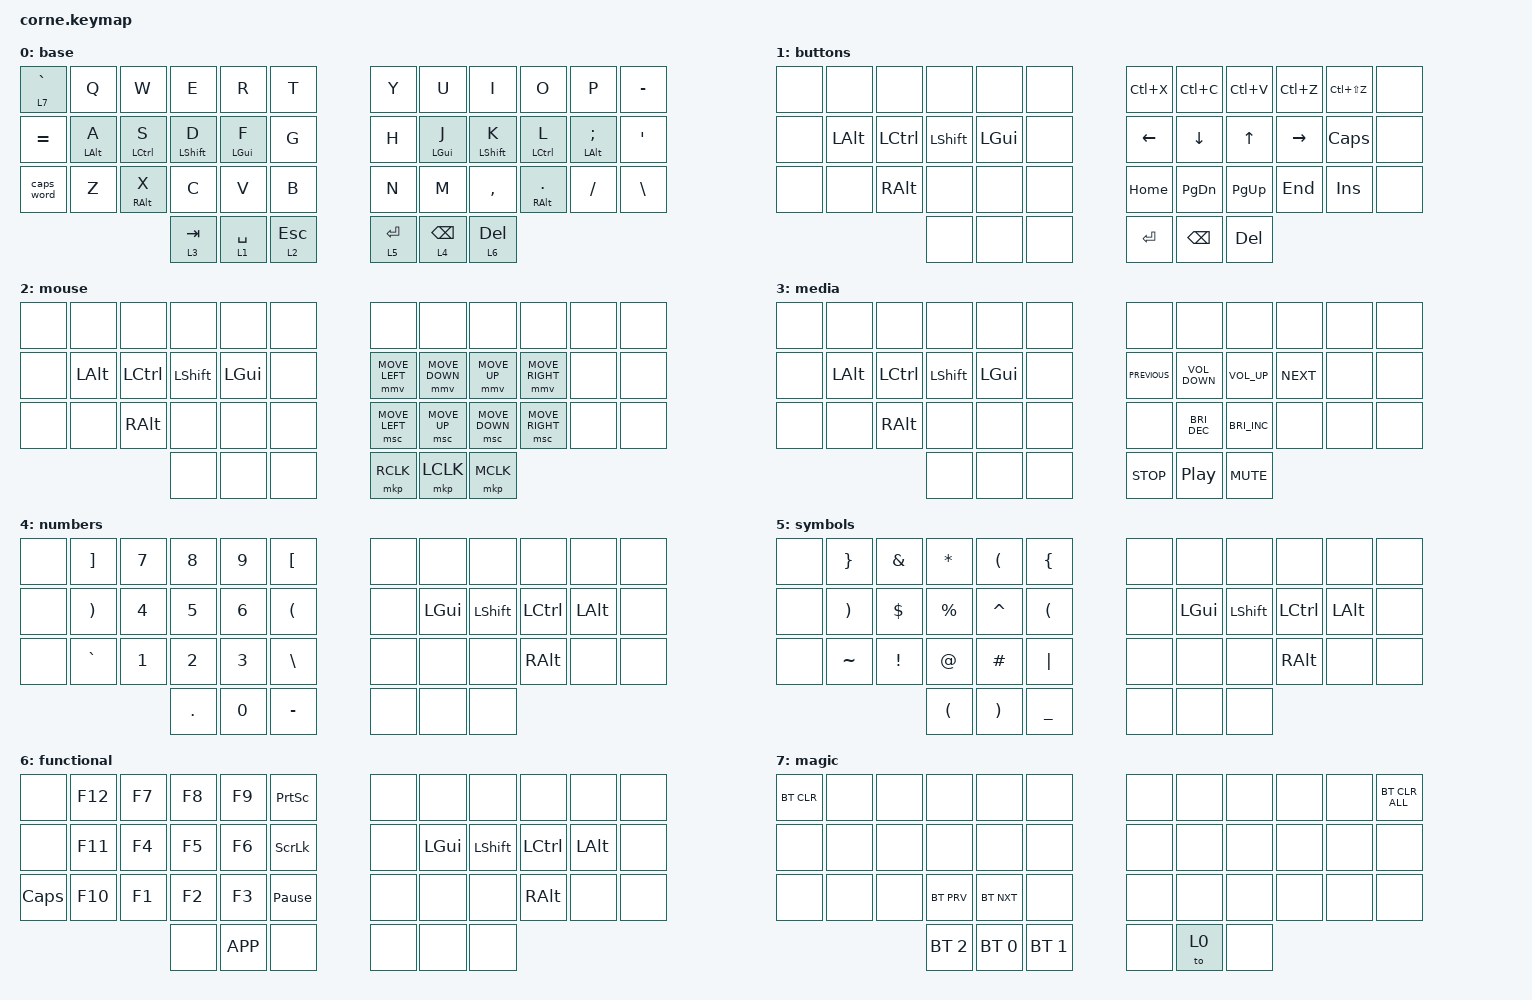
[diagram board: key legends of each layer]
/*
 * Copyright (c) 2020 The ZMK Contributors
 *
 * SPDX-License-Identifier: MIT
 */

#define ZMK_MOUSE_DEFAULT_MOVE_VAL 1400  // 600
#define ZMK_MOUSE_DEFAULT_SCRL_VAL 4    // 10

#include <dt-bindings/zmk/mouse.h>
#include <behaviors.dtsi>
#include <dt-bindings/zmk/bt.h>
#include <dt-bindings/zmk/keys.h>
#include <dt-bindings/zmk/pointing.h>

// #include <dt-bindings/zmk/pointing.h>

&lt {
    tapping-term-ms = <200>;
    quick-tap-ms = <250>;
};

&mmv {
    acceleration-exponent = <1>;      // 1
    time-to-max-speed-ms = <100>;     // 300
    delay-ms = <0>;                   // 0
};

&msc {
    acceleration-exponent = <1>;      // 0
    time-to-max-speed-ms = <600>;      // 300
    delay-ms = <0>;                   // 0
};

/ {
    behaviors {
        hm: homerow_tap_preferred_mods {
            compatible = "zmk,behavior-hold-tap";
            label = "HOMEROW_MODS";
            #binding-cells = <2>;
            tapping-term-ms = <200>;
            quick-tap-ms = <250>;
            flavor = "tap-preferred";
            bindings = <&kp>, <&kp>;
        };
    };

    keymap {
        compatible = "zmk,keymap";

        //  &none  &none  &none  &none  &none  &none           &none  &none  &none  &none  &none  &none
        //  &none  &none  &none  &none  &none  &none           &none  &none  &none  &none  &none  &none
        //  &none  &none  &none  &none  &none  &none           &none  &none  &none  &none  &none  &none
        //                       &none  &none  &none           &none  &none  &none

        base {
            // DEFAULT LAYER

            bindings = <
&lt 7 GRAVE  &kp Q       &kp W        &kp E         &kp R        &kp T           &kp Y        &kp U            &kp I         &kp O         &kp P               &kp MINUS
&kp EQUAL    &hm LALT A  &hm LCTRL S  &hm LSHIFT D  &hm LGUI F   &kp G           &kp H        &hm LGUI J       &hm LSHIFT K  &hm LCTRL L   &hm LALT SEMICOLON  &kp SINGLE_QUOTE
&caps_word   &kp Z       &hm RALT X   &kp C         &kp V        &kp B           &kp N        &kp M            &kp COMMA     &hm RALT DOT  &kp SLASH           &kp BACKSLASH
                                      &lt 3 TAB     &lt 1 SPACE  &lt 2 ESCAPE    &lt 5 ENTER  &lt 4 BACKSPACE  &lt 6 DELETE
            >;
        };

        buttons {
            // BUTTONS LAYER

            bindings = <
&none  &none     &none      &none       &none     &none    &kp LC(X)  &kp LC(C)      &kp LC(V)    &kp LC(Z)  &kp LC(LS(Z))  &none
&none  &kp LALT  &kp LCTRL  &kp LSHIFT  &kp LGUI  &none    &kp LEFT   &kp DOWN       &kp UP       &kp RIGHT  &kp CAPS       &none
&none  &none     &kp RALT   &none       &none     &none    &kp HOME   &kp PAGE_DOWN  &kp PAGE_UP  &kp END    &kp INSERT     &none
                            &none       &none     &none    &kp ENTER  &kp BACKSPACE  &kp DELETE
            >;
        };

        mouse {
            // MOUSE LAYER

            bindings = <
&none  &none     &none      &none       &none     &none    &none           &none           &none           &none            &none  &none
&none  &kp LALT  &kp LCTRL  &kp LSHIFT  &kp LGUI  &none    &mmv MOVE_LEFT  &mmv MOVE_DOWN  &mmv MOVE_UP    &mmv MOVE_RIGHT  &none  &none
&none  &none     &kp RALT   &none       &none     &none    &msc MOVE_LEFT  &msc MOVE_UP    &msc MOVE_DOWN  &msc MOVE_RIGHT  &none  &none
                            &none       &none     &none    &mkp RCLK       &mkp LCLK       &mkp MCLK
            >;
        };

        media {
            // MEDIA LAYER

            bindings = <
&none  &none     &none      &none       &none     &none    &none           &none                 &none                 &none       &none  &none
&none  &kp LALT  &kp LCTRL  &kp LSHIFT  &kp LGUI  &none    &kp C_PREVIOUS  &kp C_VOLUME_DOWN     &kp C_VOLUME_UP       &kp C_NEXT  &none  &none
&none  &none     &kp RALT   &none       &none     &none    &none           &kp C_BRIGHTNESS_DEC  &kp C_BRIGHTNESS_INC  &none       &none  &none
                            &none       &none     &none    &kp C_STOP      &kp C_PLAY_PAUSE      &kp C_MUTE
            >;
        };

        numbers {
            // NUMBERS LAYER

            bindings = <
&none  &kp RIGHT_BRACKET      &kp N7  &kp N8   &kp N9  &kp LEFT_BRACKET        &none  &none     &none       &none      &none     &none
&none  &kp RIGHT_PARENTHESIS  &kp N4  &kp N5   &kp N6  &kp LEFT_PARENTHESIS    &none  &kp LGUI  &kp LSHIFT  &kp LCTRL  &kp LALT  &none
&none  &kp GRAVE              &kp N1  &kp N2   &kp N3  &kp BACKSLASH           &none  &none     &none       &kp RALT   &none     &none
                                      &kp DOT  &kp N0  &kp MINUS               &none  &none     &none
            >;
        };

        symbols {
            // SYMBOLS LAYER

            bindings = <
&none  &kp RIGHT_BRACE        &kp AMPS         &kp ASTERISK          &kp LPAR               &kp LEFT_BRACE          &none  &none     &none       &none      &none     &none
&none  &kp RIGHT_PARENTHESIS  &kp DOLLAR       &kp PERCENT           &kp CARET              &kp LEFT_PARENTHESIS    &none  &kp LGUI  &kp LSHIFT  &kp LCTRL  &kp LALT  &none
&none  &kp TILDE              &kp EXCLAMATION  &kp AT                &kp HASH               &kp PIPE                &none  &none     &none       &kp RALT   &none     &none
                                               &kp LEFT_PARENTHESIS  &kp RIGHT_PARENTHESIS  &kp UNDERSCORE          &none  &none     &none
            >;
        };

        functional {
            // FUNCTION KEYS LAYER

            bindings = <
&none         &kp F12  &kp F7  &kp F8  &kp F9     &kp PRINTSCREEN    &none  &none     &none       &none      &none     &none
&none         &kp F11  &kp F4  &kp F5  &kp F6     &kp SCROLLLOCK     &none  &kp LGUI  &kp LSHIFT  &kp LCTRL  &kp LALT  &none
&kp CAPSLOCK  &kp F10  &kp F1  &kp F2  &kp F3     &kp PAUSE_BREAK    &none  &none     &none       &kp RALT   &none     &none
                               &none   &kp K_APP  &none              &none  &none     &none
            >;
        };

        magic {
            // MAGIC LAYER

            bindings = <
&bt BT_CLR  &none  &none  &none         &none         &none           &none  &none  &none  &none  &none  &bt BT_CLR_ALL
&none       &none  &none  &none         &none         &none           &none  &none  &none  &none  &none  &none
&none       &none  &none  &bt BT_PRV    &bt BT_NXT    &none           &none  &none  &none  &none  &none  &none
                          &bt BT_SEL 2  &bt BT_SEL 0  &bt BT_SEL 1    &none  &to 0  &none
            >;
        };
    };
};
